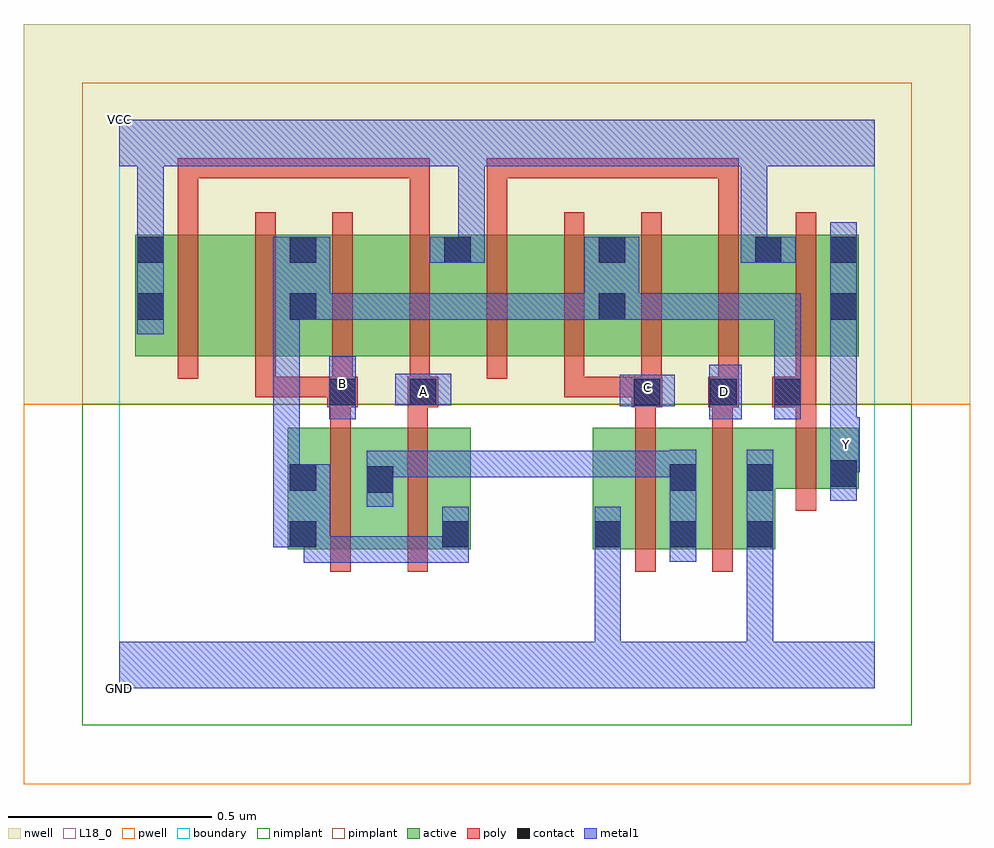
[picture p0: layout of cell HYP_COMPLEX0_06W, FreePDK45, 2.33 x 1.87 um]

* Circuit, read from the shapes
.subckt HYP_COMPLEX0_06W A B C D GND VCC Y
M1 n1 B n2 VSUBS nfet w=0.3u l=0.05u
M2 n2 A n1 VSUBS nfet w=0.3u l=0.05u
M3 n1 C GND VSUBS nfet w=0.3u l=0.05u
M4 GND D n1 VSUBS nfet w=0.3u l=0.05u
M5 Y n2 GND VSUBS nfet w=0.15u l=0.05u
M6 n3 A VCC n4 pfet w=0.3u l=0.05u
M7 n2 B n3 n4 pfet w=0.3u l=0.05u
M8 n5 B n2 n4 pfet w=0.3u l=0.05u
M9 VCC A n5 n4 pfet w=0.3u l=0.05u
M10 n6 D VCC n4 pfet w=0.3u l=0.05u
M11 n2 C n6 n4 pfet w=0.3u l=0.05u
M12 n7 C n2 n4 pfet w=0.3u l=0.05u
M13 VCC D n7 n4 pfet w=0.3u l=0.05u
M14 Y n2 VCC n4 pfet w=0.3u l=0.05u
.ends

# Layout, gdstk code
import gdstk
lib = gdstk.Library(unit=1e-6, precision=1e-09)
def R(c, l, rs):  # rectangles x0, y0, x1, y1
    for r in rs: c.add(gdstk.rectangle(r[:2], r[2:], *l))
def A(c, l, x, y, w, h, nx, ny, dx, dy):  # array of equal rectangles
    R(c, l, [(x+i*dx, y+j*dy, x+i*dx+w, y+j*dy+h) for i in range(nx) for j in range(ny)])
active = (1, 0)
pwell = (2, 0)
nwell = (3, 0)
nimplant = (4, 0)
pimplant = (5, 0)
poly = (9, 0)
contact = (10, 0)
metal1 = (11, 0)
L18_0 = (18, 0)
boundary = (235, 0)

hyp_complex0_06w = lib.new_cell('HYP_COMPLEX0_06W')
A(hyp_complex0_06w, active, 0.415, 0.342, 0.075, 0.3, 3, 1, 0.375, 0)
A(hyp_complex0_06w, active, 0.265, 0.817, 0.225, 0.3, 3, 1, 0.38, 0)
A(hyp_complex0_06w, active, 0.415, 0.817, 0.075, 0.3, 3, 1, 0.38, 0)
A(hyp_complex0_06w, active, 0.415, 0.817, 0.23, 0.3, 3, 1, 0.38, 0)
R(hyp_complex0_06w, active, [(0.415,0.342,0.68,0.642), (0.605,0.342,0.865,0.642), (1.165,0.342,1.425,0.642), (1.35,0.342,1.425,0.642), (1.35,0.342,1.615,0.642), (1.54,0.342,1.615,0.642), (0.605,0.345,0.68,0.552), (1.54,0.492,1.82,0.642), (1.745,0.492,1.82,0.642), (0.04,0.817,0.115,1.117), (0.04,0.817,0.265,1.117), (1.405,0.817,1.635,1.117), (1.56,0.817,1.635,1.117), (1.56,0.817,1.82,1.117), (1.745,0.817,1.82,1.117)])
R(hyp_complex0_06w, pwell, [(-0.235,-0.235,2.095,0.7)])
R(hyp_complex0_06w, nwell, [(-0.235,0.7,2.095,1.635)])
R(hyp_complex0_06w, nimplant, [(-0.09,-0.09,1.95,0.7)])
R(hyp_complex0_06w, pimplant, [(-0.09,0.7,1.95,1.49)])
A(hyp_complex0_06w, poly, 0.335, 0.717, 0.05, 0.095, 3, 1, 0.19, 0)
A(hyp_complex0_06w, poly, 1.095, 0.717, 0.05, 0.095, 4, 1, 0.19, 0)
A(hyp_complex0_06w, poly, 0.145, 0.762, 0.05, 0.41, 9, 1, 0.19, 0)
R(hyp_complex0_06w, poly, [(0.52,0.287,0.57,0.697), (0.71,0.287,0.76,0.697), (1.27,0.287,1.32,0.697), (1.46,0.287,1.51,0.697), (1.665,0.437,1.715,0.697), (0.52,0.647,0.57,0.742), (0.71,0.647,0.76,0.742), (1.27,0.647,1.32,0.742), (1.46,0.647,1.51,0.742), (1.665,0.647,1.715,0.742), (0.512,0.692,0.587,0.767), (0.71,0.692,0.785,0.767), (1.262,0.692,1.337,0.767), (1.45,0.692,1.525,0.767), (1.607,0.692,1.715,0.767), (0.335,0.717,0.385,0.767), (0.335,0.717,0.385,0.767), (0.335,0.717,0.385,0.767), (0.335,0.717,0.562,0.767), (1.095,0.717,1.145,0.767), (1.095,0.717,1.145,0.767), (1.095,0.717,1.145,0.767), (1.095,0.717,1.312,0.767), (0.145,1.122,0.195,1.305), (0.715,1.122,0.765,1.305), (0.905,1.122,0.955,1.305), (1.475,1.122,1.525,1.305), (0.145,1.255,0.195,1.305), (0.145,1.255,0.195,1.305), (0.145,1.255,0.195,1.305), (0.145,1.255,0.43,1.305), (0.38,1.255,0.43,1.305), (0.38,1.255,0.43,1.305), (0.38,1.255,0.43,1.305), (0.38,1.255,0.627,1.305), (0.577,1.255,0.627,1.305), (0.577,1.255,0.627,1.305), (0.577,1.255,0.627,1.305), (0.577,1.255,0.765,1.305), (0.715,1.255,0.765,1.305), (0.905,1.255,0.955,1.305), (0.905,1.255,0.955,1.305), (0.905,1.255,0.955,1.305), (0.905,1.255,1.18,1.305), (1.13,1.255,1.18,1.305), (1.13,1.255,1.18,1.305), (1.13,1.255,1.18,1.305), (1.13,1.255,1.312,1.305), (1.262,1.255,1.312,1.305), (1.262,1.255,1.525,1.305), (1.475,1.255,1.525,1.305), (1.475,1.255,1.525,1.305), (1.475,1.255,1.525,1.305)])
A(hyp_complex0_06w, contact, 0.42, 0.347, 0.065, 0.065, 3, 1, 0.375, 0)
A(hyp_complex0_06w, contact, 0.42, 1.047, 0.065, 0.065, 3, 1, 0.38, 0)
R(hyp_complex0_06w, contact, [(1.355,0.347,1.42,0.412), (1.545,0.347,1.61,0.412), (0.61,0.482,0.675,0.547), (0.42,0.487,0.485,0.552), (1.355,0.487,1.42,0.552), (1.545,0.487,1.61,0.552), (1.75,0.497,1.815,0.562), (0.517,0.697,0.582,0.762), (0.715,0.697,0.78,0.762), (1.267,0.697,1.332,0.762), (1.455,0.697,1.52,0.762), (1.612,0.697,1.677,0.762), (0.045,0.907,0.11,0.972), (0.42,0.907,0.485,0.972), (1.18,0.907,1.245,0.972), (1.75,0.907,1.815,0.972), (0.045,1.047,0.11,1.112), (1.565,1.047,1.63,1.112), (1.75,1.047,1.815,1.112)])
R(hyp_complex0_06w, metal1, [(0,0,1.86,0.115), (1.17,0.05,1.235,0.377), (1.545,0.05,1.61,0.377), (0.455,0.31,0.52,0.375), (0.455,0.31,0.52,0.375), (0.455,0.31,0.52,0.375), (0.455,0.31,0.657,0.375), (0.455,0.31,0.52,0.412), (0.592,0.31,0.657,0.375), (0.592,0.31,0.657,0.375), (0.592,0.31,0.657,0.375), (0.592,0.31,0.86,0.375), (0.795,0.31,0.86,0.447), (1.17,0.312,1.235,0.377), (1.17,0.312,1.235,0.377), (1.17,0.312,1.235,0.377), (1.17,0.312,1.235,0.377), (1.17,0.312,1.235,0.447), (1.355,0.312,1.42,0.587), (1.545,0.312,1.61,0.587), (1.545,0.312,1.61,0.377), (1.545,0.312,1.61,0.377), (1.545,0.312,1.61,0.377), (1.545,0.312,1.61,0.377), (0.38,0.347,0.52,0.552), (0.61,0.447,0.675,0.582), (1.75,0.462,1.815,0.597), (0.38,0.487,0.445,0.972), (0.61,0.517,0.675,0.582), (0.61,0.517,0.675,0.585), (0.61,0.52,0.857,0.585), (0.792,0.52,0.857,0.585), (0.792,0.52,0.857,0.585), (0.792,0.52,0.857,0.585), (0.792,0.52,0.995,0.585), (0.93,0.52,0.995,0.585), (0.93,0.52,1.132,0.585), (1.067,0.52,1.132,0.585), (1.067,0.52,1.132,0.585), (1.067,0.52,1.132,0.585), (1.067,0.52,1.32,0.585), (1.255,0.52,1.32,0.585), (1.255,0.52,1.42,0.585), (1.75,0.532,1.815,0.597), (1.75,0.532,1.822,0.667), (1.75,0.602,1.815,0.937), (0.517,0.662,0.582,0.817), (1.452,0.662,1.532,0.797), (1.612,0.662,1.677,0.797), (1.232,0.695,1.367,0.772), (0.68,0.697,0.817,0.775), (1.612,0.732,1.677,0.797), (1.612,0.732,1.677,0.797), (1.612,0.732,1.677,0.972), (0.045,0.872,0.11,1.147), (1.75,0.872,1.815,1.147), (0.38,0.907,0.445,0.972), (0.38,0.907,0.445,0.972), (0.38,0.907,0.52,1.112), (0.455,0.907,0.52,0.972), (0.455,0.907,0.52,0.972), (0.455,0.907,0.657,0.972), (0.592,0.907,0.657,0.972), (0.592,0.907,0.72,0.972), (0.655,0.907,0.72,0.972), (0.655,0.907,0.812,0.972), (0.747,0.907,0.812,0.972), (0.747,0.907,0.995,0.972), (0.93,0.907,0.995,0.972), (0.93,0.907,0.995,0.972), (0.93,0.907,0.995,0.972), (0.93,0.907,1.142,0.972), (1.077,0.907,1.142,0.972), (1.077,0.907,1.21,0.972), (1.145,0.907,1.28,1.112), (1.215,0.907,1.28,0.972), (1.215,0.907,1.28,0.972), (1.215,0.907,1.457,0.972), (1.392,0.907,1.457,0.972), (1.392,0.907,1.457,0.972), (1.392,0.907,1.457,0.972), (1.392,0.907,1.677,0.972), (1.612,0.907,1.677,0.972), (0.765,1.047,0.9,1.112), (0.835,1.047,0.9,1.112), (0.835,1.047,0.9,1.112), (0.835,1.047,0.9,1.35), (1.53,1.047,1.595,1.112), (1.53,1.047,1.595,1.112), (1.53,1.047,1.595,1.35), (1.53,1.047,1.665,1.112), (0.045,1.082,0.11,1.35), (0,1.285,1.86,1.4), (0.045,1.285,0.11,1.35), (0.045,1.285,0.11,1.35)])
R(hyp_complex0_06w, L18_0, [(0,0,1.86,0.115), (1.17,0.05,1.235,0.377), (1.545,0.05,1.61,0.377), (1.17,0.312,1.235,0.377), (1.17,0.312,1.235,0.377), (1.17,0.312,1.235,0.377), (1.17,0.312,1.235,0.377), (1.17,0.312,1.235,0.447), (1.545,0.312,1.61,0.587), (1.545,0.312,1.61,0.377), (1.545,0.312,1.61,0.377), (1.545,0.312,1.61,0.377), (1.545,0.312,1.61,0.377), (1.75,0.462,1.815,0.597), (1.75,0.532,1.815,0.597), (1.75,0.532,1.822,0.667), (1.757,0.567,1.822,0.632), (1.75,0.602,1.815,0.937), (0.517,0.662,0.582,0.817), (1.452,0.662,1.532,0.797), (1.232,0.695,1.367,0.772), (0.68,0.697,0.817,0.775), (0.717,0.697,0.782,0.762), (1.457,0.697,1.522,0.762), (1.267,0.707,1.332,0.772), (0.517,0.717,0.582,0.782), (0.045,0.872,0.11,1.147), (1.75,0.872,1.815,1.147), (0.765,1.047,0.9,1.112), (0.835,1.047,0.9,1.112), (0.835,1.047,0.9,1.112), (0.835,1.047,0.9,1.35), (1.53,1.047,1.595,1.112), (1.53,1.047,1.595,1.112), (1.53,1.047,1.665,1.112), (1.53,1.047,1.595,1.35), (0.045,1.082,0.11,1.35), (0,1.285,1.86,1.4), (0.045,1.285,0.11,1.35), (0.045,1.285,0.11,1.35)])
R(hyp_complex0_06w, boundary, [(0,0,1.86,1.4)])
hyp_complex0_06w.add(gdstk.Label('A', (0.75,0.73), layer=11, texttype=0))
hyp_complex0_06w.add(gdstk.Label('B', (0.55,0.75), layer=11, texttype=0))
hyp_complex0_06w.add(gdstk.Label('C', (1.3,0.74), layer=11, texttype=0))
hyp_complex0_06w.add(gdstk.Label('D', (1.49,0.73), layer=11, texttype=0))
hyp_complex0_06w.add(gdstk.Label('Y', (1.79,0.6), layer=11, texttype=0))
hyp_complex0_06w.add(gdstk.Label('VCC', (0,1.4), layer=11, texttype=0))
hyp_complex0_06w.add(gdstk.Label('GND', (0,0), layer=11, texttype=0))

lib.write_gds('HYP_COMPLEX0_06W.gds')
